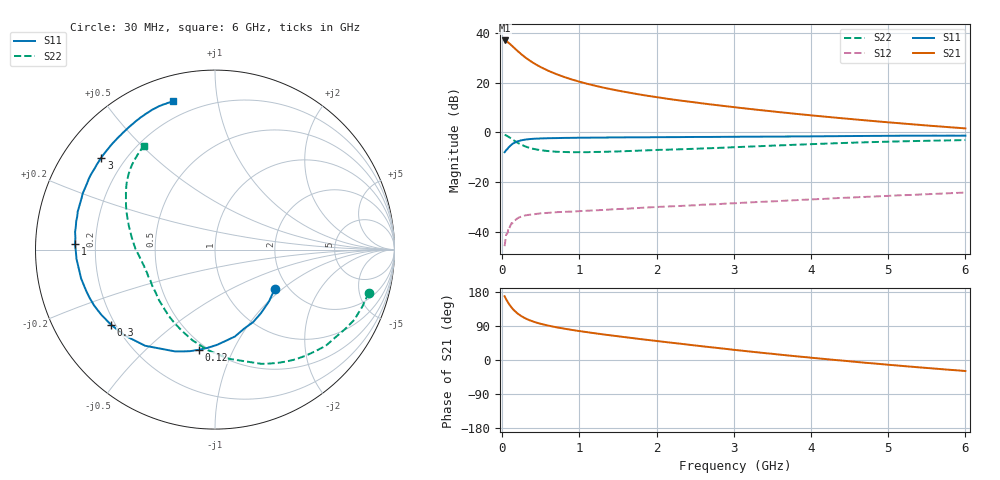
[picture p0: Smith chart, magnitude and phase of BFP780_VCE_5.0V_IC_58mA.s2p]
! Infineon Technologies  Discrete & RF Semiconductors
! BFP780
! VCE =  5.0 V,  IC =  58 mA
! Common Emitter S-Parameters:  Jul 2015
# GHz  S  MA  R  50
!  f  S11  S21  S12  S22
! GHz  MAG  ANG  MAG  ANG  MAG  ANG  MAG  ANG
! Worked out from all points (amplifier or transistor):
!   75 points, 30 MHz to 6 GHz, reference 50 ohm
!   highest |S21| = 36.9 dB at 30 MHz (marker M1)
!   |S21| within 3 dB of that: start of sweep to 155.1 MHz
!   unconditionally stable (mu >= 1): 1.855 GHz to end of sweep
!   at 150 MHz: K = 0.20, MSG = 34.9 dB, |S12| = -35.7 dB
!   at 2.3 GHz: K = 1.11, MAG = 19.1 dB, |S12| = -29.6 dB
!   at 6 GHz: K = 1.20, MAG = 10.2 dB, |S12| = -24.2 dB
!   S11 on the Smith chart (normalised r, x): 30 MHz: 1.70, -0.90; 120 MHz: 0.45, -0.74; 300 MHz: 0.18, -0.31; 1 GHz: 0.12, +0.02; 3 GHz: 0.11, +0.35; 6 GHz: 0.12, +0.75
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0.03  0.3993 -33.7  69.79 168.2  0.0052 66.3  0.8904 -15.7
0.05  0.4369 -54.1  67.53 160.3  0.0089 51.0  0.8689 -26.8
0.08  0.4964 -77.0  62.85 150.0  0.0122 58.6  0.8176 -40.9
0.1  0.5316 -89.0  59.19 144.0  0.0129 51.3  0.7789 -49.2
0.12  0.5658 -99.3  55.52 138.5  0.0151 49.6  0.7402 -57.3
0.15  0.6093 -111.4  50.25 131.6  0.0164 44.7  0.6876 -67.8
0.2  0.6622 -126.0  42.61 122.3  0.019 38.5  0.6144 -82.4
0.25  0.694 -136.4  36.57 115.3  0.0206 34.1  0.5618 -94.1
0.3  0.7152 -144.3  31.72 109.7  0.0216 30.9  0.5204 -104.0
0.35  0.7306 -150.4  27.9 105.2  0.0222 27.9  0.4893 -112.0
0.4  0.7421 -155.2  24.85 101.5  0.0226 26.2  0.4676 -118.8
0.5  0.754 -162.5  20.3 95.4  0.0237 24.4  0.4368 -129.6
0.7  0.7668 -172.5  14.73 86.4  0.025 22.2  0.4077 -144.5
1  0.7805 177.8  10.38 76.3  0.0262 22.1  0.4007 -158.1
1.1  0.7806 175.1  9.417 73.4  0.0268 22.6  0.4001 -161.6
1.5  0.7894 166.5  6.875 62.6  0.0289 23.7  0.4138 -171.5
2.1  0.8009 155.6  4.817 47.8  0.0323 25.4  0.4464 178.2
3  0.8149 141.0  3.207 26.9  0.0377 26.1  0.5027 163.5
3.1  0.8163 139.6  3.077 24.7  0.0385 26.0  0.5102 162.0
4.1  0.8332 125.5  2.123 4.1  0.0458 24.4  0.5868 147.8
5.1  0.8543 114.2  1.544 -14.2  0.0541 20.5  0.6557 135.4
6  0.8586 106.0  1.2 -29.1  0.062 15.4  0.7005 124.5
